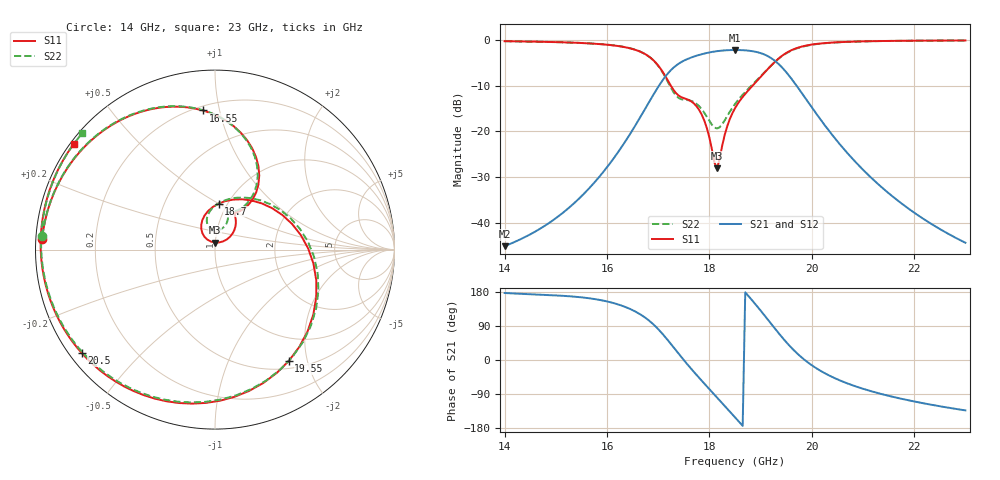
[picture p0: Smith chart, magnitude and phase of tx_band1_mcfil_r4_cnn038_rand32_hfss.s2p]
! Touchstone file exported from HFSS 3D Layout Design 2026.1.0
!  File:  D:/Work/SIM/ADS_AUTO_SIM/projects/RFSOC_RF/TX_Fillter.aedt
!  Generated:  10:36:07 PM Aug 30, 2026
!  Design:  TX_BAND1_MCFIL_R4_CNN038_P2UP_GRAPHICAL
!  Project:  TX_Fillter
# GHz S MA R 50.000000
! Terminal data exported
! Port[1] = Port1
! Port[2] = Port2
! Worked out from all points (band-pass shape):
!   181 points, 14 GHz to 23 GHz, reference 50 ohm
!   highest |S21| = -2.23 dB at 18.5 GHz (marker M1); lowest = -45.1 dB at 14 GHz (marker M2)
!   |S21| within 3 dB of the highest: 17.4 GHz to 19.35 GHz (1.947 GHz wide, 10.6 % of centre)
!   lowest |S11| = -28.1 dB at 18.15 GHz (marker M3), VSWR 1.08, Z = 49.7 + j3.94 ohm
!   |S11| at or under -10 dB: 17.25 GHz to 18.85 GHz (1.6 GHz wide, 8.86 % of centre)
!   |S22| runs from -19.4 to -0.1 dB; largest |S21 - S12| = 4.8e-14
!   S11 on the Smith chart (normalised r, x): 14 GHz: 0.02, +0.03; 16.55 GHz: 0.23, +0.89; 18.7 GHz: 0.91, +0.50; 19.55 GHz: 0.61, -1.70; 20.5 GHz: 0.03, -0.34; 23 GHz: 0.01, +0.33
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14  0.9649 176.5  0.005588 176.8  0.005588 176.8  0.9648 175.6
15.5  0.9225 140.2  0.01958 165.4  0.01958 165.4  0.9232 139.3
16.05  0.878 120.5  0.0442 153.0  0.0442 153.0  0.8793 119.9
16.55  0.7782 95.0  0.1153 128.1  0.1153 128.1  0.7797 94.9
17  0.5236 62.5  0.3064 81.5  0.3064 81.5  0.5195 63.1
17.3  0.2833 54.5  0.4969 33.3  0.4969 33.3  0.2677 58.0
17.6  0.2198 59.7  0.6266 -16.3  0.6266 -16.3  0.2187 72.3
17.9  0.1314 42.3  0.7074 -62.2  0.7074 -62.2  0.1599 66.2
18.15  0.03955 91.4  0.7515 -99.3  0.7515 -99.3  0.1074 88.5
18.35  0.1147 127.6  0.7696 -128.9  0.7696 -128.9  0.1476 106.7
18.5  0.1791 113.2  0.7738 -151.2  0.7738 -151.2  0.1989 101.4
18.7  0.2569 85.6  0.7669 178.6  0.7669 178.6  0.2696 82.1
18.9  0.3414 53.3  0.7403 147.0  0.7403 147.0  0.3501 55.0
19.1  0.4529 18.3  0.6806 113.8  0.6806 113.8  0.4563 22.4
19.35  0.6235 -25.2  0.545 71.3  0.545 71.3  0.6197 -21.6
19.55  0.7443 -56.5  0.41 39.7  0.41 39.7  0.7376 -54.3
19.75  0.8272 -82.4  0.2897 12.9  0.2897 12.9  0.8203 -81.7
20  0.8873 -107.7  0.183 -13.9  0.183 -13.9  0.8819 -108.6
20.5  0.9399 -142.2  0.0779 -51.0  0.0779 -51.0  0.9375 -144.8
20.95  0.9597 -162.9  0.04073 -73.8  0.04073 -73.8  0.9587 -166.5
21.5  0.9719 178.3  0.02117 -94.5  0.02117 -94.5  0.9716 174.2
23  0.9831 143.3  0.006086 -133.0  0.006086 -133.0  0.9834 138.8
